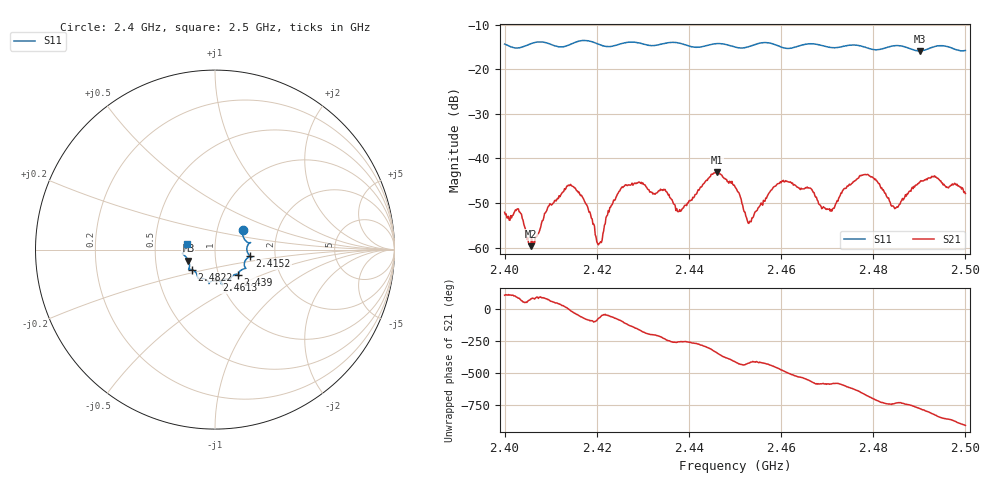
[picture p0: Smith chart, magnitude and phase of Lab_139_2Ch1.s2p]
# Hz S RI R 50
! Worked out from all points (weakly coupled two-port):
!   601 points, 2.4 GHz to 2.5 GHz, reference 50 ohm
!   highest |S21| = -43.09 dB at 2.4462 GHz (marker M1); lowest = -59.7 dB at 2.4057 GHz (marker M2)
!   lowest |S11| = -15.9 dB at 2.4902 GHz (marker M3), VSWR 1.38, Z = 36.9 - j4.64 ohm
!   |S11| at or under -10 dB: start of sweep to end of sweep
!   S12 and S22 are empty: the file has one direction only
!   S11 on the Smith chart (normalised r, x): 2.4 GHz: 1.33, +0.31; 2.4152 GHz: 1.48, -0.11; 2.439 GHz: 1.24, -0.36; 2.4613 GHz: 0.96, -0.34; 2.4822 GHz: 0.76, -0.17; 2.5 GHz: 0.72, +0.05
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2.4e9  0.1554 0.1116  -0.000913 0.00231  0 0  0 0
2.403167e9  0.163 0.0595  9.09e-05 0.00251  0 0  0 0
2.405667e9  0.189 0.0377  0.000137 0.00103  0 0  0 0
2.4095e9  0.1909 0.0359  0.000616 0.00285  0 0  0 0
2.415167e9  0.1951 -0.0361  0.00404 -0.00235  0 0  0 0
2.416667e9  0.2046 -0.0421  0.00205 -0.00328  0 0  0 0
2.4205e9  0.1842 -0.0447  0.000445 -0.00101  0 0  0 0
2.425667e9  0.1677 -0.1001  -0.00055 -0.00468  0 0  0 0
2.433333e9  0.1326 -0.1321  -0.0038 0.00196  0 0  0 0
2.439e9  0.1281 -0.1389  -0.000892 0.00279  0 0  0 0
2.446167e9  0.0851 -0.174  0.0067 0.00205  0 0  0 0
2.45e9  0.0684 -0.1634  0.00306 -0.0037  0 0  0 0
2.453167e9  0.0376 -0.1761  0.000963 -0.00172  0 0  0 0
2.461333e9  0.00757 -0.1706  -0.00392 -0.0039  0 0  0 0
2.466667e9  -0.0332 -0.1899  -0.00392 0.00217  0 0  0 0
2.470667e9  -0.0495 -0.1678  -0.0018 0.00183  0 0  0 0
2.4775e9  -0.0963 -0.1533  0.00268 0.0059  0 0  0 0
2.482167e9  -0.1281 -0.1118  0.00435 -0.00102  0 0  0 0
2.483333e9  -0.1394 -0.1101  0.00332 -0.0014  0 0  0 0
2.485167e9  -0.1473 -0.1102  0.00278 -0.000716  0 0  0 0
2.490167e9  -0.1481 -0.0613  0.0028 -0.00469  0 0  0 0
2.5e9  -0.1585 0.0338  -0.00397 0.000768  0 0  0 0
